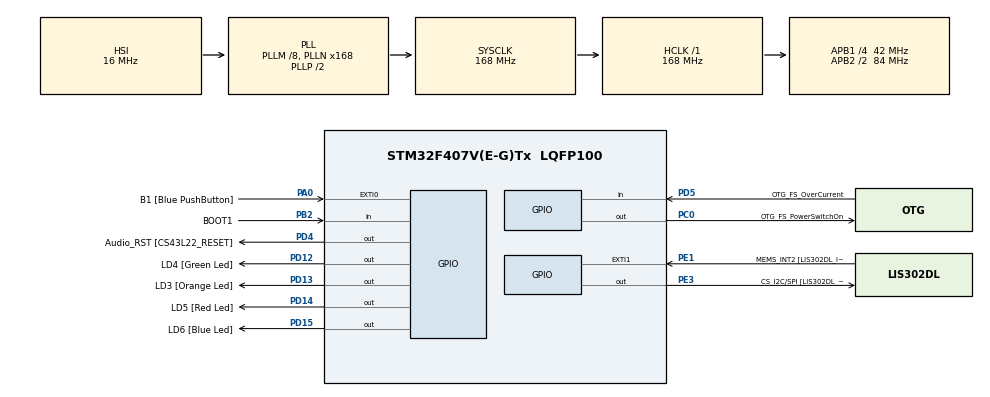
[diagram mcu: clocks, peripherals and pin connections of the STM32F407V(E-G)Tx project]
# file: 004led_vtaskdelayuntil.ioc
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Mcu.Family=STM32F4
Mcu.Name=STM32F407V(E-G)Tx
Mcu.Package=LQFP100
NVIC.PriorityGroup=NVIC_PRIORITYGROUP_4
NVIC.TIM6_DAC_IRQn=true\:15\:0\:false\:false\:true\:false\:true\:true
NVIC.TimeBase=TIM6_DAC_IRQn
NVIC.TimeBaseIP=TIM6
PA0-WKUP.GPIO_Label=B1 [Blue PushButton]
PA0-WKUP.Signal=GPXTI0
PA10.GPIO_Label=OTG_FS_ID
PA10.GPIO_Mode=GPIO_MODE_AF_PP
PA10.GPIO_PuPd=GPIO_NOPULL
PA10.GPIO_Speed=GPIO_SPEED_FREQ_LOW
PA10.Signal=USB_OTG_FS_ID
PA11.GPIO_Label=OTG_FS_DM
PA11.GPIO_Mode=GPIO_MODE_AF_PP
PA11.GPIO_PuPd=GPIO_NOPULL
PA11.GPIO_Speed=GPIO_SPEED_FREQ_LOW
PA11.Signal=USB_OTG_FS_DM
PA12.GPIO_Label=OTG_FS_DP
PA12.GPIO_Mode=GPIO_MODE_AF_PP
PA12.GPIO_PuPd=GPIO_NOPULL
PA12.GPIO_Speed=GPIO_SPEED_FREQ_LOW
PA12.Signal=USB_OTG_FS_DP
PA13.GPIO_Label=SWDIO
PA13.Signal=SYS_JTMS-SWDIO
PA14.GPIO_Label=SWCLK
PA14.Signal=SYS_JTCK-SWCLK
PA4.GPIO_Label=I2S3_WS [CS43L22_LRCK]
PA4.GPIO_Mode=GPIO_MODE_AF_PP
PA4.GPIO_PuPd=GPIO_NOPULL
PA4.GPIO_Speed=GPIO_SPEED_FREQ_LOW
PA4.Signal=I2S3_WS
PA5.GPIO_Label=SPI1_SCK [LIS302DL_SCL/SPC]
PA5.GPIO_Mode=GPIO_MODE_AF_PP
PA5.GPIO_PuPd=GPIO_NOPULL
PA5.GPIO_Speed=GPIO_SPEED_FREQ_LOW
PA5.Signal=SPI1_SCK
PA6.GPIO_Label=SPI1_MISO [LIS302DL_SDO]
PA6.GPIO_Mode=GPIO_MODE_AF_PP
PA6.GPIO_PuPd=GPIO_NOPULL
PA6.GPIO_Speed=GPIO_SPEED_FREQ_LOW
PA6.Signal=SPI1_MISO
PA7.GPIO_Label=SPI1_MOSI [LIS302DL_SDA/SDI/SDO]
PA7.GPIO_Mode=GPIO_MODE_AF_PP
PA7.GPIO_PuPd=GPIO_NOPULL
PA7.GPIO_Speed=GPIO_SPEED_FREQ_LOW
PA7.Signal=SPI1_MOSI
PA9.GPIO_Label=VBUS_FS
PA9.GPIO_Mode=GPIO_MODE_INPUT
PA9.GPIO_PuPd=GPIO_NOPULL
PA9.Signal=USB_OTG_FS_VBUS
PB10.GPIO_Label=CLK_IN [MP45DT02_CLK]
PB10.GPIO_Mode=GPIO_MODE_AF_PP
PB10.GPIO_PuPd=GPIO_NOPULL
PB10.GPIO_Speed=GPIO_SPEED_FREQ_LOW
PB10.Signal=I2S2_CK
PB2.GPIO_Label=BOOT1
PB2.GPIO_Mode=GPIO_MODE_INPUT
PB2.GPIO_PuPd=GPIO_NOPULL
PB2.Signal=GPIO_Input
PB3.GPIO_Label=SWO
PB3.Signal=SYS_JTDO-SWO
PB6.GPIO_Label=Audio_SCL [CS43L22_SCL]
PB6.GPIO_Mode=GPIO_MODE_AF_OD
PB6.GPIO_PuPd=GPIO_NOPULL
PB6.GPIO_Speed=GPIO_SPEED_FREQ_LOW
PB6.Signal=I2C1_SCL
PB9.GPIO_Label=Audio_SDA [CS43L22_SDA]
PB9.GPIO_Mode=GPIO_MODE_AF_OD
PB9.GPIO_PuPd=GPIO_NOPULL
PB9.GPIO_Speed=GPIO_SPEED_FREQ_LOW
PB9.Signal=I2C1_SDA
PC0.GPIO_Label=OTG_FS_PowerSwitchOn
PC0.GPIO_PuPd=GPIO_NOPULL
PC0.GPIO_Speed=GPIO_SPEED_FREQ_LOW
PC0.PinState=GPIO_PIN_SET
PC0.Signal=GPIO_Output
PC10.GPIO_Label=I2S3_SCK [CS43L22_SCLK]
PC10.GPIO_Mode=GPIO_MODE_AF_PP
PC10.GPIO_PuPd=GPIO_NOPULL
PC10.GPIO_Speed=GPIO_SPEED_FREQ_LOW
PC10.Signal=I2S3_CK
PC12.GPIO_Label=I2S3_SD [CS43L22_SDIN]
PC12.GPIO_Mode=GPIO_MODE_AF_PP
PC12.GPIO_PuPd=GPIO_NOPULL
PC12.GPIO_Speed=GPIO_SPEED_FREQ_LOW
PC12.Signal=I2S3_SD
PC14-OSC32_IN.GPIO_Label=PC14-OSC32_IN
PC14-OSC32_IN.Signal=RCC_OSC32_IN
PC15-OSC32_OUT.GPIO_Label=PC15-OSC32_OUT
PC15-OSC32_OUT.Signal=RCC_OSC32_OUT
PC3.GPIO_Label=PDM_OUT [MP45DT02_DOUT]
PC3.GPIO_Mode=GPIO_MODE_AF_PP
PC3.GPIO_PuPd=GPIO_NOPULL
PC3.GPIO_Speed=GPIO_SPEED_FREQ_LOW
PC3.Signal=I2S2_SD
PC7.GPIO_Label=I2S3_MCK [CS43L22_MCLK]
PC7.GPIO_Mode=GPIO_MODE_AF_PP
PC7.GPIO_PuPd=GPIO_NOPULL
PC7.GPIO_Speed=GPIO_SPEED_FREQ_LOW
PC7.Signal=I2S3_MCK
PD12.GPIO_Label=LD4 [Green Led]
PD12.GPIO_PuPd=GPIO_NOPULL
PD12.GPIO_Speed=GPIO_SPEED_FREQ_LOW
PD12.Signal=GPIO_Output
PD13.GPIO_Label=LD3 [Orange Led]
PD13.GPIO_PuPd=GPIO_NOPULL
PD13.GPIO_Speed=GPIO_SPEED_FREQ_LOW
PD13.Signal=GPIO_Output
PD14.GPIO_Label=LD5 [Red Led]
PD14.GPIO_PuPd=GPIO_NOPULL
PD14.GPIO_Speed=GPIO_SPEED_FREQ_LOW
PD14.Signal=GPIO_Output
PD15.GPIO_Label=LD6 [Blue Led]
PD15.GPIO_PuPd=GPIO_NOPULL
PD15.GPIO_Speed=GPIO_SPEED_FREQ_LOW
PD15.Signal=GPIO_Output
PD4.GPIO_Label=Audio_RST [CS43L22_RESET]
PD4.GPIO_PuPd=GPIO_NOPULL
PD4.GPIO_Speed=GPIO_SPEED_FREQ_LOW
PD4.Signal=GPIO_Output
PD5.GPIO_Label=OTG_FS_OverCurrent
PD5.GPIO_Mode=GPIO_MODE_INPUT
PD5.GPIO_PuPd=GPIO_NOPULL
PD5.Signal=GPIO_Input
PE1.GPIO_Label=MEMS_INT2 [LIS302DL_INT2]
PE1.GPIO_ModeDefaultEXTI=GPIO_MODE_EVT_RISING
PE1.GPIO_PuPd=GPIO_NOPULL
PE1.Signal=GPXTI1
PE3.GPIO_Label=CS_I2C/SPI [LIS302DL_CS_I2C/SPI]
PE3.GPIO_PuPd=GPIO_NOPULL
PE3.GPIO_Speed=GPIO_SPEED_FREQ_LOW
PE3.Signal=GPIO_Output
PH0-OSC_IN.GPIO_Label=PH0-OSC_IN
PH0-OSC_IN.Signal=RCC_OSC_IN
PH1-OSC_OUT.GPIO_Label=PH1-OSC_OUT
PH1-OSC_OUT.Signal=RCC_OSC_OUT
ProjectManager.HeapSize=0x200
ProjectManager.StackSize=0x400
ProjectManager.TargetToolchain=STM32CubeIDE
RCC.48MHZClocksFreq_Value=48000000
RCC.AHBFreq_Value=168000000
RCC.APB1CLKDivider=RCC_HCLK_DIV4
RCC.APB1Freq_Value=42000000
RCC.APB1TimFreq_Value=84000000
RCC.APB2CLKDivider=RCC_HCLK_DIV2
RCC.APB2Freq_Value=84000000
RCC.APB2TimFreq_Value=168000000
RCC.CortexFreq_Value=168000000
RCC.HCLKFreq_Value=168000000
RCC.HSE_VALUE=8000000
RCC.HSI_VALUE=16000000
RCC.LSE_VALUE=32768
RCC.PLLM=8
RCC.PLLN=168
RCC.PLLQ=7
RCC.SYSCLKFreq_VALUE=168000000
RCC.SYSCLKSource=RCC_SYSCLKSOURCE_PLLCLK
RCC.VCOOutputFreq_Value=336000000
VP_SYS_VS_tim6.Mode=TIM6
board=STM32F407G-DISC1

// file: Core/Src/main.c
/* USER CODE BEGIN Header */
/**
  ******************************************************************************
  * @file           : main.c
  * @brief          : Main program body
  ******************************************************************************
  * @attention
  *
  * Copyright (c) 2026 STMicroelectronics.
  * All rights reserved.
  *
  * This software is licensed under terms that can be found in the LICENSE file
  * in the root directory of this software component.
  * If no LICENSE file comes with this software, it is provided AS-IS.
  *
  ******************************************************************************
  */
/* USER CODE END Header */
#include "main.h"

/* USER CODE BEGIN Includes */
#include "FreeRTOS.h"
#include "task.h"
/* USER CODE END Includes */

/* USER CODE BEGIN PM */
#define DWT_CTRL	(*(volatile uint32_t*)0xE0001000)
/* USER CODE END PM */

void SystemClock_Config(void);
static void MX_GPIO_Init(void);

/* USER CODE BEGIN 0 */

static void led_green_handler(void* parameters);
static void led_orange_handler(void* parameters);
static void led_blue_handler(void* parameters);

extern void SEGGER_UART_init(uint32_t);

/* USER CODE END 0 */

int main(void)
{

  /* USER CODE BEGIN 1 */
	TaskHandle_t led_green_handle;
	TaskHandle_t led_blue_handle;
	TaskHandle_t led_orange_handle;

	BaseType_t status;

  /* USER CODE END 1 */

  /* MCU Configuration--------------------------------------------------------*/

  /* Reset of all peripherals, Initializes the Flash interface and the Systick. */
  HAL_Init();

  /* Configure the system clock */
  SystemClock_Config();

  /* Initialize all configured peripherals */
  MX_GPIO_Init();
  /* USER CODE BEGIN 2 */

  SEGGER_UART_init(500000);

  //cyccnt enable
  DWT_CTRL |= (1<<0);

  SEGGER_SYSVIEW_Conf();

  status =  xTaskCreate(led_green_handler, "led_green_handle", 200, NULL, 2, &led_green_handle);
  configASSERT(status == pdPASS);

  status =  xTaskCreate(led_blue_handler, "led_blue_handle", 200, NULL, 2, &led_blue_handle);
  configASSERT(status == pdPASS);

  status =  xTaskCreate(led_orange_handler, "led_orange_handle", 200, NULL, 2, &led_orange_handle);
  configASSERT(status == pdPASS);

  //start schedule
  vTaskStartScheduler();

  //

  /* USER CODE END 2 */

  /* Infinite loop */
  while (1)
  {

  }
}

void SystemClock_Config(void)
{
  RCC_OscInitTypeDef RCC_OscInitStruct = {0};
  RCC_ClkInitTypeDef RCC_ClkInitStruct = {0};

  /** Configure the main internal regulator output voltage
  */
  __HAL_RCC_PWR_CLK_ENABLE();
  __HAL_PWR_VOLTAGESCALING_CONFIG(PWR_REGULATOR_VOLTAGE_SCALE1);

  /** Initializes the RCC Oscillators according to the specified parameters
  * in the RCC_OscInitTypeDef structure.
  */
  RCC_OscInitStruct.OscillatorType = RCC_OSCILLATORTYPE_HSI;
  RCC_OscInitStruct.HSIState = RCC_HSI_ON;
  RCC_OscInitStruct.HSICalibrationValue = RCC_HSICALIBRATION_DEFAULT;
  RCC_OscInitStruct.PLL.PLLState = RCC_PLL_ON;
  RCC_OscInitStruct.PLL.PLLSource = RCC_PLLSOURCE_HSI;
  RCC_OscInitStruct.PLL.PLLM = 8;
  RCC_OscInitStruct.PLL.PLLN = 168;
  RCC_OscInitStruct.PLL.PLLP = RCC_PLLP_DIV2;
  RCC_OscInitStruct.PLL.PLLQ = 7;
  if (HAL_RCC_OscConfig(&RCC_OscInitStruct) != HAL_OK)
  {
    Error_Handler();
  }

  /** Initializes the CPU, AHB and APB buses clocks
  */
  RCC_ClkInitStruct.ClockType = RCC_CLOCKTYPE_HCLK|RCC_CLOCKTYPE_SYSCLK
                              |RCC_CLOCKTYPE_PCLK1|RCC_CLOCKTYPE_PCLK2;
  RCC_ClkInitStruct.SYSCLKSource = RCC_SYSCLKSOURCE_PLLCLK;
  RCC_ClkInitStruct.AHBCLKDivider = RCC_SYSCLK_DIV1;
  RCC_ClkInitStruct.APB1CLKDivider = RCC_HCLK_DIV4;
  RCC_ClkInitStruct.APB2CLKDivider = RCC_HCLK_DIV2;

  if (HAL_RCC_ClockConfig(&RCC_ClkInitStruct, FLASH_LATENCY_5) != HAL_OK)
  {
    Error_Handler();
  }
}

static void MX_GPIO_Init(void)
{
  GPIO_InitTypeDef GPIO_InitStruct = {0};

  /* GPIO Ports Clock Enable */
  __HAL_RCC_GPIOE_CLK_ENABLE();
  __HAL_RCC_GPIOC_CLK_ENABLE();
  __HAL_RCC_GPIOH_CLK_ENABLE();
  __HAL_RCC_GPIOA_CLK_ENABLE();
  __HAL_RCC_GPIOB_CLK_ENABLE();
  __HAL_RCC_GPIOD_CLK_ENABLE();

  /*Configure GPIO pin Output Level */
  HAL_GPIO_WritePin(CS_I2C_SPI_GPIO_Port, CS_I2C_SPI_Pin, GPIO_PIN_RESET);

  /*Configure GPIO pin Output Level */
  HAL_GPIO_WritePin(OTG_FS_PowerSwitchOn_GPIO_Port, OTG_FS_PowerSwitchOn_Pin, GPIO_PIN_SET);

  /*Configure GPIO pin Output Level */
  HAL_GPIO_WritePin(GPIOD, LD4_Pin|LD3_Pin|LD5_Pin|LD6_Pin
                          |Audio_RST_Pin, GPIO_PIN_RESET);

  /*Configure GPIO pin : CS_I2C_SPI_Pin */
  GPIO_InitStruct.Pin = CS_I2C_SPI_Pin;
  GPIO_InitStruct.Mode = GPIO_MODE_OUTPUT_PP;
  GPIO_InitStruct.Pull = GPIO_NOPULL;
  GPIO_InitStruct.Speed = GPIO_SPEED_FREQ_LOW;
  HAL_GPIO_Init(CS_I2C_SPI_GPIO_Port, &GPIO_InitStruct);

  /*Configure GPIO pin : OTG_FS_PowerSwitchOn_Pin */
  GPIO_InitStruct.Pin = OTG_FS_PowerSwitchOn_Pin;
  GPIO_InitStruct.Mode = GPIO_MODE_OUTPUT_PP;
  GPIO_InitStruct.Pull = GPIO_NOPULL;
  GPIO_InitStruct.Speed = GPIO_SPEED_FREQ_LOW;
  HAL_GPIO_Init(OTG_FS_PowerSwitchOn_GPIO_Port, &GPIO_InitStruct);

  /*Configure GPIO pin : PDM_OUT_Pin */
  GPIO_InitStruct.Pin = PDM_OUT_Pin;
  GPIO_InitStruct.Mode = GPIO_MODE_AF_PP;
  GPIO_InitStruct.Pull = GPIO_NOPULL;
  GPIO_InitStruct.Speed = GPIO_SPEED_FREQ_LOW;
  GPIO_InitStruct.Alternate = GPIO_AF5_SPI2;
  HAL_GPIO_Init(PDM_OUT_GPIO_Port, &GPIO_InitStruct);

  /*Configure GPIO pin : B1_Pin */
  GPIO_InitStruct.Pin = B1_Pin;
  GPIO_InitStruct.Mode = GPIO_MODE_IT_RISING;
  GPIO_InitStruct.Pull = GPIO_NOPULL;
  HAL_GPIO_Init(B1_GPIO_Port, &GPIO_InitStruct);

  /*Configure GPIO pin : I2S3_WS_Pin */
  GPIO_InitStruct.Pin = I2S3_WS_Pin;
  GPIO_InitStruct.Mode = GPIO_MODE_AF_PP;
  GPIO_InitStruct.Pull = GPIO_NOPULL;
  GPIO_InitStruct.Speed = GPIO_SPEED_FREQ_LOW;
  GPIO_InitStruct.Alternate = GPIO_AF6_SPI3;
  HAL_GPIO_Init(I2S3_WS_GPIO_Port, &GPIO_InitStruct);

  /*Configure GPIO pins : SPI1_SCK_Pin SPI1_MISO_Pin SPI1_MOSI_Pin */
  GPIO_InitStruct.Pin = SPI1_SCK_Pin|SPI1_MISO_Pin|SPI1_MOSI_Pin;
  GPIO_InitStruct.Mode = GPIO_MODE_AF_PP;
  GPIO_InitStruct.Pull = GPIO_NOPULL;
  GPIO_InitStruct.Speed = GPIO_SPEED_FREQ_LOW;
  GPIO_InitStruct.Alternate = GPIO_AF5_SPI1;
  HAL_GPIO_Init(GPIOA, &GPIO_InitStruct);

  /*Configure GPIO pin : BOOT1_Pin */
  GPIO_InitStruct.Pin = BOOT1_Pin;
  GPIO_InitStruct.Mode = GPIO_MODE_INPUT;
  GPIO_InitStruct.Pull = GPIO_NOPULL;
  HAL_GPIO_Init(BOOT1_GPIO_Port, &GPIO_InitStruct);

  /*Configure GPIO pin : CLK_IN_Pin */
  GPIO_InitStruct.Pin = CLK_IN_Pin;
  GPIO_InitStruct.Mode = GPIO_MODE_AF_PP;
  GPIO_InitStruct.Pull = GPIO_NOPULL;
  GPIO_InitStruct.Speed = GPIO_SPEED_FREQ_LOW;
  GPIO_InitStruct.Alternate = GPIO_AF5_SPI2;
  HAL_GPIO_Init(CLK_IN_GPIO_Port, &GPIO_InitStruct);

  /*Configure GPIO pins : LD4_Pin LD3_Pin LD5_Pin LD6_Pin
                           Audio_RST_Pin */
  GPIO_InitStruct.Pin = LD4_Pin|LD3_Pin|LD5_Pin|LD6_Pin
                          |Audio_RST_Pin;
  GPIO_InitStruct.Mode = GPIO_MODE_OUTPUT_PP;
  GPIO_InitStruct.Pull = GPIO_NOPULL;
  GPIO_InitStruct.Speed = GPIO_SPEED_FREQ_LOW;
  HAL_GPIO_Init(GPIOD, &GPIO_InitStruct);

  /*Configure GPIO pins : I2S3_MCK_Pin I2S3_SCK_Pin I2S3_SD_Pin */
  GPIO_InitStruct.Pin = I2S3_MCK_Pin|I2S3_SCK_Pin|I2S3_SD_Pin;
  GPIO_InitStruct.Mode = GPIO_MODE_AF_PP;
  GPIO_InitStruct.Pull = GPIO_NOPULL;
  GPIO_InitStruct.Speed = GPIO_SPEED_FREQ_LOW;
  GPIO_InitStruct.Alternate = GPIO_AF6_SPI3;
  HAL_GPIO_Init(GPIOC, &GPIO_InitStruct);

  /*Configure GPIO pin : VBUS_FS_Pin */
  GPIO_InitStruct.Pin = VBUS_FS_Pin;
  GPIO_InitStruct.Mode = GPIO_MODE_INPUT;
  GPIO_InitStruct.Pull = GPIO_NOPULL;
  HAL_GPIO_Init(VBUS_FS_GPIO_Port, &GPIO_InitStruct);

  /*Configure GPIO pins : OTG_FS_ID_Pin OTG_FS_DM_Pin OTG_FS_DP_Pin */
  GPIO_InitStruct.Pin = OTG_FS_ID_Pin|OTG_FS_DM_Pin|OTG_FS_DP_Pin;
  GPIO_InitStruct.Mode = GPIO_MODE_AF_PP;
  GPIO_InitStruct.Pull = GPIO_NOPULL;
  GPIO_InitStruct.Speed = GPIO_SPEED_FREQ_LOW;
  GPIO_InitStruct.Alternate = GPIO_AF10_OTG_FS;
  HAL_GPIO_Init(GPIOA, &GPIO_InitStruct);

  /*Configure GPIO pin : OTG_FS_OverCurrent_Pin */
  GPIO_InitStruct.Pin = OTG_FS_OverCurrent_Pin;
  GPIO_InitStruct.Mode = GPIO_MODE_INPUT;
  GPIO_InitStruct.Pull = GPIO_NOPULL;
  HAL_GPIO_Init(OTG_FS_OverCurrent_GPIO_Port, &GPIO_InitStruct);

  /*Configure GPIO pins : Audio_SCL_Pin Audio_SDA_Pin */
  GPIO_InitStruct.Pin = Audio_SCL_Pin|Audio_SDA_Pin;
  GPIO_InitStruct.Mode = GPIO_MODE_AF_OD;
  GPIO_InitStruct.Pull = GPIO_NOPULL;
  GPIO_InitStruct.Speed = GPIO_SPEED_FREQ_LOW;
  GPIO_InitStruct.Alternate = GPIO_AF4_I2C1;
  HAL_GPIO_Init(GPIOB, &GPIO_InitStruct);

  /*Configure GPIO pin : MEMS_INT2_Pin */
  GPIO_InitStruct.Pin = MEMS_INT2_Pin;
  GPIO_InitStruct.Mode = GPIO_MODE_EVT_RISING;
  GPIO_InitStruct.Pull = GPIO_NOPULL;
  HAL_GPIO_Init(MEMS_INT2_GPIO_Port, &GPIO_InitStruct);

}

/* USER CODE BEGIN 4 */
static void led_green_handler(void* parameters)
{
	TickType_t xLastWakeTime;
	xLastWakeTime = xTaskGetTickCount();

	while(1)
	{
		SEGGER_SYSVIEW_PrintfTarget("toggling led green");
		HAL_GPIO_TogglePin(GPIOD, GPIO_PIN_12);
		vTaskDelayUntil(&xLastWakeTime,pdMS_TO_TICKS(1000));
	}

}

static void led_orange_handler(void* parameters)
{
	TickType_t xLastWakeTime;
	xLastWakeTime = xTaskGetTickCount();

	while(1)
	{
		SEGGER_SYSVIEW_PrintfTarget("toggling led orange");
		HAL_GPIO_TogglePin(GPIOD, GPIO_PIN_13);
		vTaskDelayUntil(&xLastWakeTime,pdMS_TO_TICKS(800));
	}

}

static void led_blue_handler(void* parameters)
{
	TickType_t xLastWakeTime;
	xLastWakeTime = xTaskGetTickCount();

	while (1)
	{
		SEGGER_SYSVIEW_PrintfTarget("toggling led blue");
		HAL_GPIO_TogglePin(GPIOD, GPIO_PIN_15);
		vTaskDelayUntil(&xLastWakeTime,pdMS_TO_TICKS(400));

	}

}

/* USER CODE END 4 */

void HAL_TIM_PeriodElapsedCallback(TIM_HandleTypeDef *htim)
{
  if (htim->Instance == TIM6)
  {
    HAL_IncTick();
  }
}

void Error_Handler(void)
{
  __disable_irq();
  while (1)
  {
  }
}
